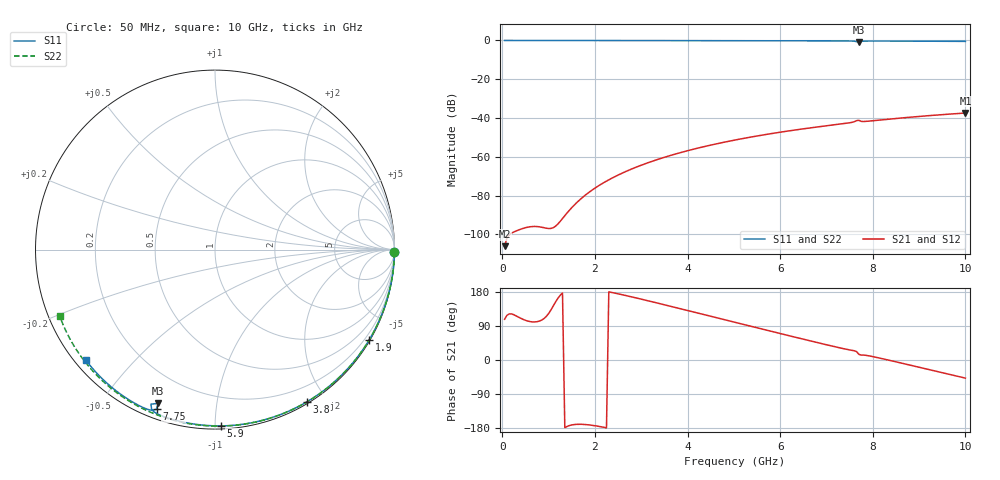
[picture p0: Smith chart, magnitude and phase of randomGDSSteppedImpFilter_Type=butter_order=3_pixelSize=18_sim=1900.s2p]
! freq	dB(S11)	phase(S11)	dB(S12)	phase(S12)
!  dB(S21)	phase(S21)	dB(S22)	phase(S22)
!S-par simulation data
#  GHz  S  DB  R 50
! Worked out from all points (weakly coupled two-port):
!   200 points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, 50 MHz to 10 GHz, reference 50 ohm
!   highest |S21| = -37.43 dB at 10 GHz (marker M1); lowest = -106.1 dB at 50 MHz (marker M2)
!   lowest |S11| = -0.8 dB at 7.7 GHz (marker M3), VSWR 22.18, Z = 3.34 - j34.7 ohm
!   |S11| at or under -10 dB: nowhere
!   |S22| runs from -0.5 to 0.0 dB; largest |S21 - S12| = 0
!   S11 on the Smith chart (normalised r, x): 50 MHz: open; 1.9 GHz: 0.03, -3.70; 3.8 GHz: 0.02, -1.77; 5.9 GHz: 0.02, -1.03; 7.75 GHz: 0.04, -0.70; 10 GHz: 0.03, -0.37
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0.05  -0.00 -0.8  -106.09 107.6  -106.09 107.6  -0.00 -0.9
0.85  -0.01 -13.7  -96.31 105.3  -96.31 105.3  -0.02 -15.2
1.75  -0.04 -27.9  -80.59 -169.9  -80.59 -169.9  -0.04 -31.0
1.8  -0.04 -28.7  -79.63 -170.4  -79.63 -170.4  -0.04 -31.9
1.9  -0.04 -30.2  -77.83 -171.7  -77.83 -171.7  -0.04 -33.6
2.2  -0.04 -34.9  -73.20 -177.7  -73.20 -177.7  -0.05 -38.7
2.55  -0.05 -40.2  -68.86 173.4  -68.86 173.4  -0.06 -44.7
2.95  -0.06 -46.3  -64.79 162.1  -64.79 162.1  -0.07 -51.4
3.4  -0.07 -53.0  -61.01 148.8  -61.01 148.8  -0.08 -58.8
3.8  -0.08 -58.9  -58.15 136.7  -58.15 136.7  -0.09 -65.3
4.4  -0.10 -67.5  -54.51 118.5  -54.51 118.5  -0.11 -74.8
5.05  -0.12 -76.6  -51.23 98.6  -51.23 98.6  -0.13 -84.8
5.9  -0.15 -88.2  -47.69 72.9  -47.69 72.9  -0.17 -97.5
6.7  -0.19 -98.8  -44.93 49.0  -44.93 49.0  -0.21 -109.2
7.35  -0.24 -107.4  -42.96 30.4  -42.96 30.4  -0.26 -118.4
7.6  -0.38 -111.6  -41.92 24.4  -41.92 24.4  -0.28 -122.0
7.65  -0.61 -112.5  -41.34 22.1  -41.34 22.1  -0.28 -122.7
7.7  -0.78 -110.3  -41.19 14.9  -41.19 14.9  -0.28 -123.4
7.75  -0.47 -110.1  -41.73 13.0  -41.73 13.0  -0.29 -124.1
8.35  -0.31 -119.1  -40.57 -0.5  -40.57 -0.5  -0.34 -132.6
9.2  -0.39 -129.6  -38.80 -24.9  -38.80 -24.9  -0.43 -144.8
10  -0.47 -139.4  -37.43 -47.8  -37.43 -47.8  -0.52 -156.7
